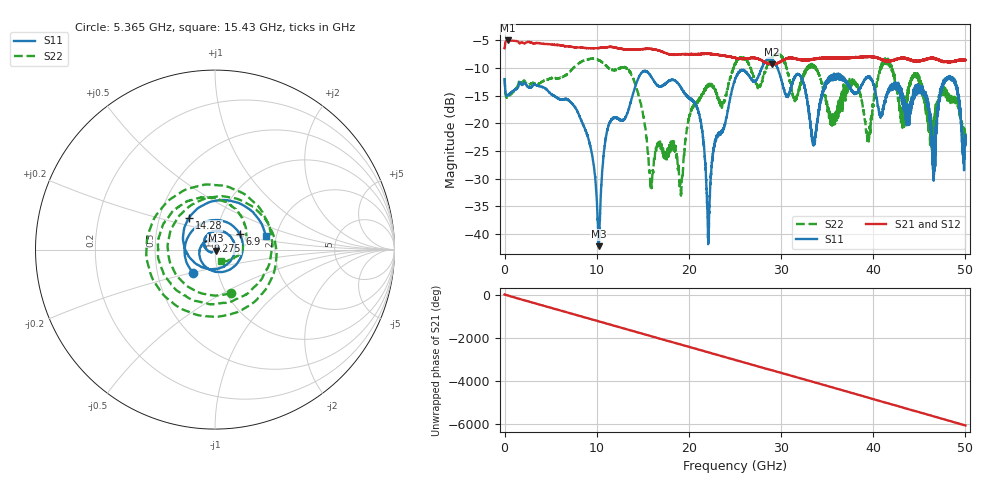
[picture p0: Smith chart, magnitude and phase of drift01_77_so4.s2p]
!Created with skrf (http://scikit-rf.org).
# Hz S RI R 50.0
!freq ReS11 ImS11 ReS21 ImS21 ReS12 ImS12 ReS22 ImS22
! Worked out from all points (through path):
!   10001 points, 300 kHz to 50 GHz, reference 50 ohm
!   highest |S21| = -5.05 dB at 315.3 MHz (marker M1); lowest = -9.4 dB at 28.97 GHz (marker M2)
!   group delay of S21, straight-line fit = 336 ps
!   lowest |S11| = -42.2 dB at 10.22 GHz (marker M3), VSWR 1.02, Z = 50.6 - j0.558 ohm
!   |S11| at or under -10 dB: start of sweep to 27.9 GHz; 29.6 GHz to end of sweep
!   |S22| runs from -33.1 to -7.5 dB; largest |S21 - S12| = 0.014
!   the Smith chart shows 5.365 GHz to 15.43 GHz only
!   S11 on the Smith chart (normalised r, x): 5.365 GHz: 0.76, -0.20; 6.9 GHz: 1.29, +0.23; 9.275 GHz: 0.92, +0.09; 14.28 GHz: 0.71, +0.26; 15.43 GHz: 1.76, +0.28
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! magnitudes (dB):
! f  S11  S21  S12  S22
! 300 kHz  -12.1  -6.5  -6.6  -11.8
! 315.3 MHz  -15.0  -5.1  -5.1  -15.3
! 5.365 GHz  -15.0  -5.8  -5.8  -11.8
! 6.9 GHz  -15.8  -6.1  -6.1  -11.0
! 8.335 GHz  -19.5  -6.3  -6.3  -8.9
! 9.275 GHz  -24.0  -6.4  -6.4  -8.3
! 10.22 GHz  -42.2  -6.4  -6.4  -8.6
! 11.23 GHz  -20.7  -6.2  -6.2  -9.9
! 14.28 GHz  -12.8  -6.7  -6.7  -13.5
! 15.43 GHz  -10.7  -6.6  -6.6  -22.8
! 16.67 GHz  -13.3  -6.8  -6.8  -23.3
! 19.15 GHz  -13.6  -7.5  -7.5  -33.0
! 20.86 GHz  -17.1  -7.6  -7.5  -16.1
! 22.12 GHz  -41.4  -7.5  -7.5  -13.4
! 25 GHz  -12.1  -8.2  -8.2  -9.4
! 28.97 GHz  -8.4  -9.4  -9.4  -8.2
! 33.34 GHz  -22.3  -8.5  -8.4  -9.5
! 39.46 GHz  -11.7  -8.0  -8.0  -21.7
! 41.67 GHz  -13.9  -8.7  -8.7  -9.1
! 46.55 GHz  -28.1  -8.3  -8.3  -20.0
! 48.56 GHz  -12.1  -8.8  -8.8  -16.0
! 50 GHz  -23.4  -8.6  -8.6  -23.3
